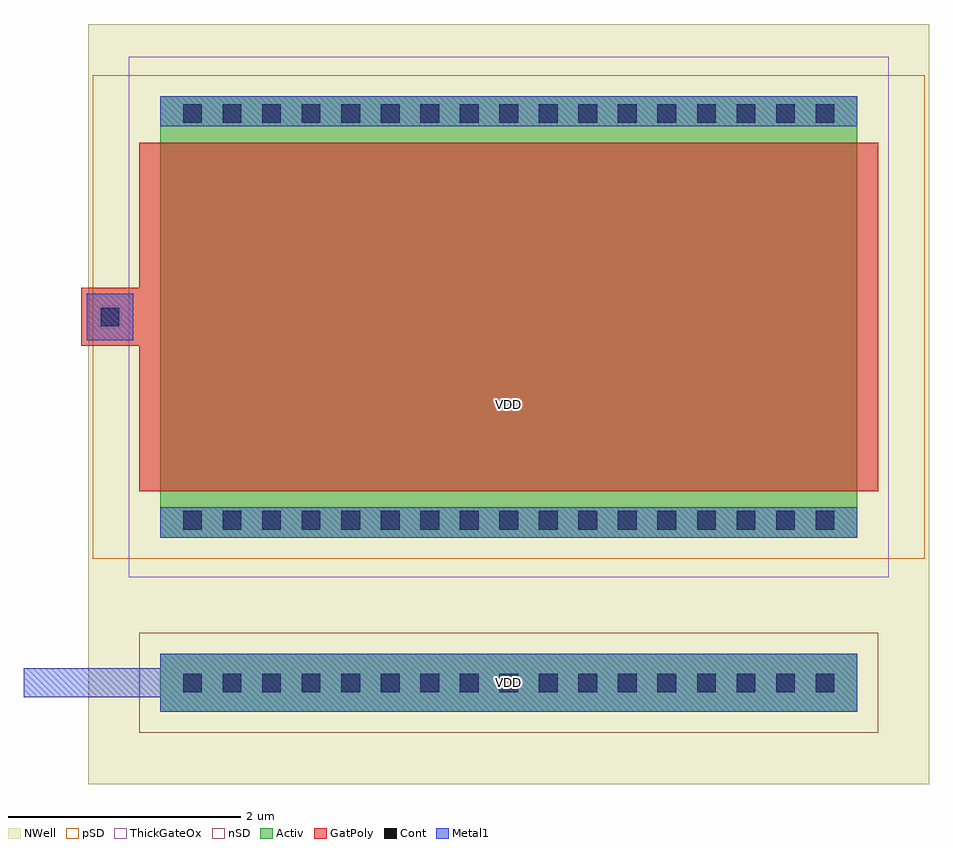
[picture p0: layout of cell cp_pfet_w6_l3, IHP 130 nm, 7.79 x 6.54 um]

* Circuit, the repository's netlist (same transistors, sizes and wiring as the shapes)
* extracted by klt extract --deck sg13cmos5l

* cell cp_pfet_w6_l3
* pin VDD
.SUBCKT cp_pfet_w6_l3 VDD
* device instance $1 r0 *1 4.3,4.36 pfet
X$1 \$2 \$1 \$3 VDD sg13_hv_pmos L=3U W=6U AS=2.4P AD=2.4P PS=12.8U PD=12.8U
.ENDS cp_pfet_w6_l3

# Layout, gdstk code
import gdstk
lib = gdstk.Library(unit=1e-6, precision=1e-09)
def R(c, l, rs):  # rectangles x0, y0, x1, y1
    for r in rs: c.add(gdstk.rectangle(r[:2], r[2:], *l))
def A(c, l, x, y, w, h, nx, ny, dx, dy):  # array of equal rectangles
    R(c, l, [(x+i*dx, y+j*dy, x+i*dx+w, y+j*dy+h) for i in range(nx) for j in range(ny)])
Activ = (1, 0)
GatPoly = (5, 0)
Cont = (6, 0)
nSD = (7, 0)
Metal1 = (8, 0)
pSD = (14, 0)
NWell = (31, 0)
ThickGateOx = (44, 0)

cp_pfet_w6_l3 = lib.new_cell('cp_pfet_w6_l3')
R(cp_pfet_w6_l3, Activ, [(1.3,0.96,7.3,1.46), (1.3,2.46,7.3,6.26)])
R(cp_pfet_w6_l3, GatPoly, [(1.12,2.86,7.48,5.86), (0.62,4.11,1.12,4.61)])
A(cp_pfet_w6_l3, Cont, 1.5, 1.13, 0.16, 0.16, 17, 2, 0.34, 1.4)
A(cp_pfet_w6_l3, Cont, 1.5, 6.03, 0.16, 0.16, 17, 1, 0.34, 0)
R(cp_pfet_w6_l3, Cont, [(0.79,4.28,0.95,4.44)])
R(cp_pfet_w6_l3, nSD, [(1.12,0.78,7.48,1.64)])
R(cp_pfet_w6_l3, Metal1, [(1.3,0.96,7.3,1.46), (0.125,1.085,1.3,1.335), (1.3,2.46,7.3,2.72), (0.67,4.16,1.07,4.56), (1.3,6,7.3,6.26)])
R(cp_pfet_w6_l3, pSD, [(0.72,2.28,7.88,6.44)])
R(cp_pfet_w6_l3, NWell, [(0.68,0.34,7.92,6.88)])
R(cp_pfet_w6_l3, ThickGateOx, [(1.03,2.12,7.57,6.6)])
cp_pfet_w6_l3.add(gdstk.Label('VDD', (4.3,1.21), layer=8, texttype=2))
cp_pfet_w6_l3.add(gdstk.Label('VDD', (4.3,3.61), layer=31, texttype=2))

lib.write_gds('cp_pfet_w6_l3.gds')
